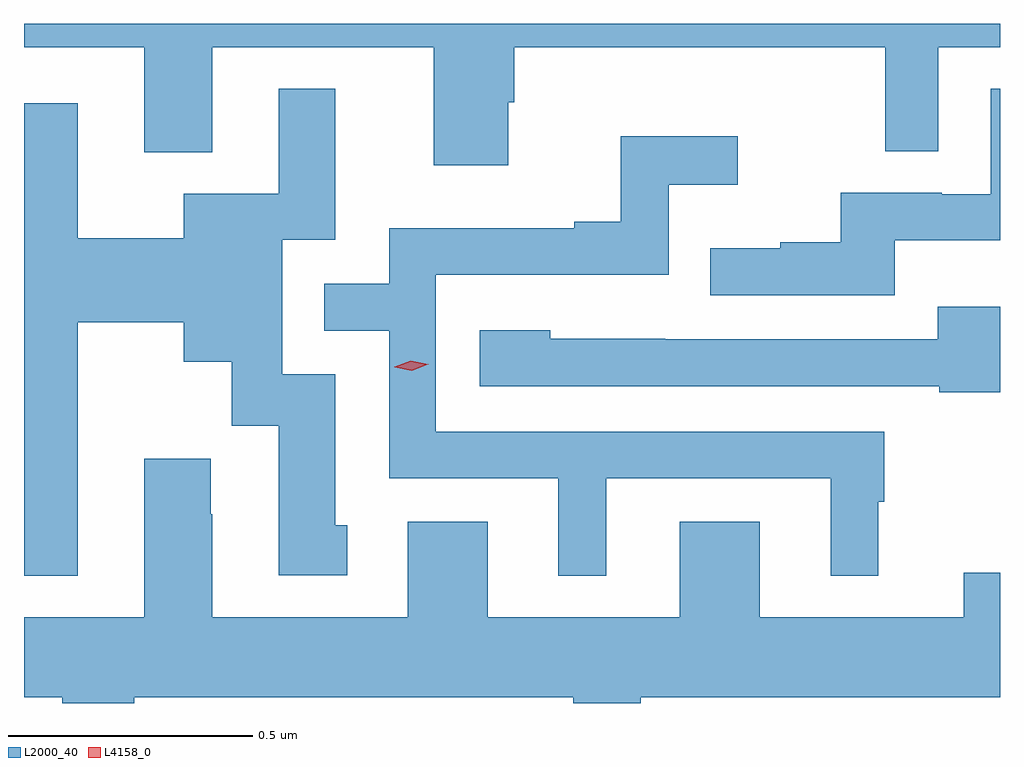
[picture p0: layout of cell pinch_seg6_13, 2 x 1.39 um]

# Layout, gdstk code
import gdstk
lib = gdstk.Library(unit=1e-6, precision=1e-09)
def P(c, l, *ps):  # polygons
    for p in ps: c.add(gdstk.Polygon(p, *l))
L2000_40 = (2000, 40)
L4158_0 = (4158, 0)

pinch_seg6_13 = lib.new_cell('pinch_seg6_13')
P(pinch_seg6_13, L2000_40, [(940.345,997.839),(940.358,997.839),(940.358,997.952),(941.118,997.952),(941.118,997.738),(941.226,997.738),(941.226,997.952),(941.353,997.952),(941.353,998),(939.353,998),(939.353,997.952),(939.599,997.952),(939.599,997.736),(939.739,997.736),(939.739,997.952),(940.193,997.952),(940.193,997.71),(940.345,997.71)],
  [(939.463,997.388),(939.68,997.388),(939.68,997.307),(939.779,997.307),(939.779,997.176),(939.875,997.176),(939.875,996.87),(940.015,996.87),(940.015,996.972),(939.991,996.972),(939.991,997.281),(939.882,997.281),(939.882,997.557),(939.991,997.557),(939.991,997.867),(939.875,997.867),(939.875,997.651),(939.68,997.651),(939.68,997.56),(939.463,997.56),(939.463,997.837),(939.353,997.837),(939.353,996.869),(939.463,996.869)],
  [(941.137,997.556),(941.353,997.556),(941.353,997.867),(941.334,997.867),(941.334,997.65),(941.234,997.65),(941.234,997.653),(941.027,997.653),(941.027,997.552),(940.903,997.552),(940.903,997.54),(940.759,997.54),(940.759,997.443),(941.137,997.443)],
  [(940.546,997.068),(941.006,997.068),(941.006,996.869),(941.104,996.869),(941.104,997.02),(941.116,997.02),(941.116,997.164),(940.197,997.164),(940.197,997.485),(940.674,997.485),(940.674,997.67),(940.816,997.67),(940.816,997.769),(940.576,997.769),(940.576,997.594),(940.481,997.594),(940.481,997.581),(940.101,997.581),(940.101,997.467),(939.968,997.467),(939.968,997.371),(940.101,997.371),(940.101,997.068),(940.448,997.068),(940.448,996.869),(940.546,996.869)],
  [(941.353,997.42),(941.225,997.42),(941.225,997.353),(940.667,997.353),(940.667,997.354),(940.431,997.354),(940.431,997.372),(940.287,997.372),(940.287,997.257),(941.229,997.257),(941.229,997.245),(941.353,997.245)],
  [(939.579,996.62),(940.479,996.62),(940.479,996.607),(940.617,996.607),(940.617,996.62),(941.353,996.62),(941.353,996.875),(941.279,996.875),(941.279,996.784),(940.861,996.784),(940.861,996.979),(940.697,996.979),(940.697,996.784),(940.303,996.784),(940.303,996.979),(940.139,996.979),(940.139,996.784),(939.739,996.784),(939.739,996.995),(939.736,996.995),(939.736,997.108),(939.599,997.108),(939.599,996.784),(939.353,996.784),(939.353,996.62),(939.431,996.62),(939.431,996.607),(939.579,996.607)])
P(pinch_seg6_13, L4158_0, [(940.148,997.289),(940.113,997.296),(940.112,997.297),(940.113,997.297),(940.146,997.309),(940.181,997.302),(940.182,997.302),(940.181,997.302)])

lib.write_gds('pinch_seg6_13.gds')
